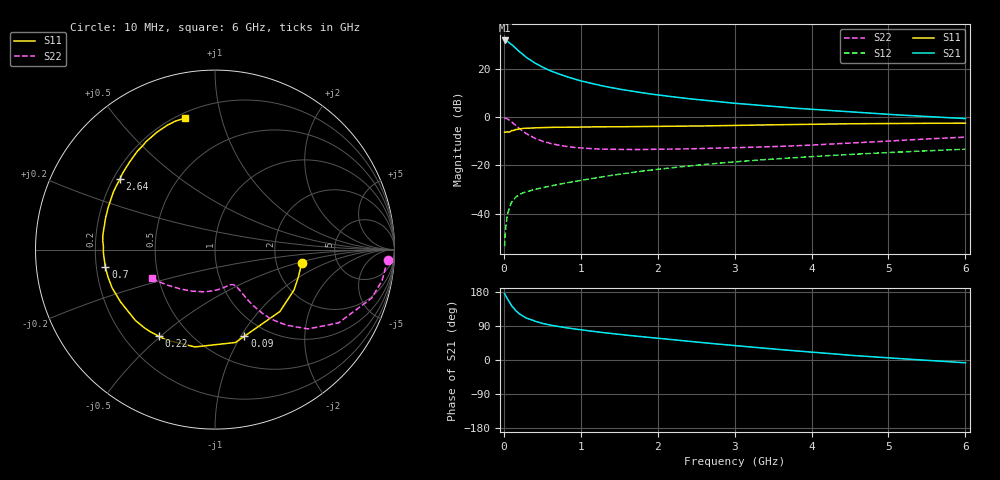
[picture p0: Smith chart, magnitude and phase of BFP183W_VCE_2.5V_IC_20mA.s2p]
! Infineon Technologies  Discrete & RF Semiconductors
! BFP183W
! VCE = 2.5 V,  IC =  20 mA
! Common Emitter S-Parameters:  Jan 2016
# GHz  S  MA  R  50
!  f  S11  S21  S12  S22
! GHz  MAG  ANG  MAG  ANG  MAG  ANG  MAG  ANG
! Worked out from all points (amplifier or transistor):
!   210 points, 10 MHz to 6 GHz, reference 50 ohm
!   highest |S21| = 31.9 dB at 10 MHz (marker M1)
!   |S21| within 3 dB of that: start of sweep to 146.9 MHz
!   unconditionally stable (mu >= 1): 888.2 MHz to 4.952 GHz
!   at 185 MHz: K = 0.35, MSG = 30.1 dB, |S12| = -32.5 dB
!   at 1.52 GHz: K = 1.14, MAG = 15.3 dB, |S12| = -23.6 dB
!   at 6 GHz: K = 0.96, MSG = 6.4 dB, |S12| = -13.3 dB
!   S11 on the Smith chart (normalised r, x): 10 MHz: 2.78, -0.56; 90 MHz: 0.79, -1.04; 220 MHz: 0.34, -0.49; 700 MHz: 0.24, -0.08; 2.64 GHz: 0.23, +0.31; 6 GHz: 0.23, +0.77
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0.01  0.4884 -9.1  39.17 175.0  0.0021 82.9  0.9628 -3.3
0.02  0.489 -18.1  39.01 171.8  0.0041 80.6  0.9533 -7.0
0.03  0.4944 -27.0  38.78 167.8  0.0062 80.1  0.9466 -10.5
0.05  0.4998 -43.6  37.3 159.9  0.0098 74.9  0.9139 -17.2
0.09  0.5099 -71.3  33.22 147.2  0.0156 63.1  0.8189 -27.7
0.1  0.5299 -77.6  32.5 143.6  0.0171 61.4  0.8001 -30.7
0.15  0.5536 -101.6  27.46 131.0  0.0216 53.4  0.6816 -40.4
0.2  0.5725 -118.4  23.13 122.0  0.0247 50.0  0.5825 -46.4
0.22  0.5753 -123.1  21.77 119.6  0.0256 48.7  0.5516 -48.0
0.26  0.5871 -131.8  19.26 114.4  0.0272 46.5  0.4943 -51.2
0.3  0.5937 -138.4  17.11 110.1  0.0285 45.0  0.4468 -53.2
0.4  0.6015 -151.0  13.43 102.4  0.0315 44.7  0.368 -56.1
0.5  0.6116 -159.6  10.99 96.7  0.0343 45.7  0.3181 -57.4
0.7  0.6187 -170.9  8.055 88.6  0.0399 48.1  0.2642 -58.7
1.02  0.6229 177.8  5.579 79.3  0.0494 52.2  0.2286 -60.9
1.4  0.6301 167.8  4.102 69.9  0.062 54.7  0.2155 -65.1
2.02  0.6438 154.7  2.87 56.8  0.0834 55.4  0.2157 -75.0
2.64  0.6593 143.5  2.213 44.7  0.1054 53.5  0.2249 -87.0
3.1  0.6776 135.7  1.888 36.4  0.1216 51.1  0.2338 -97.3
4.1  0.7162 121.2  1.423 19.2  0.1554 45.3  0.2682 -121.3
5.1  0.7431 110.3  1.12 4.2  0.1877 38.9  0.3263 -142.1
6  0.7512 103.0  0.937 -7.3  0.2167 33.3  0.3858 -155.6
